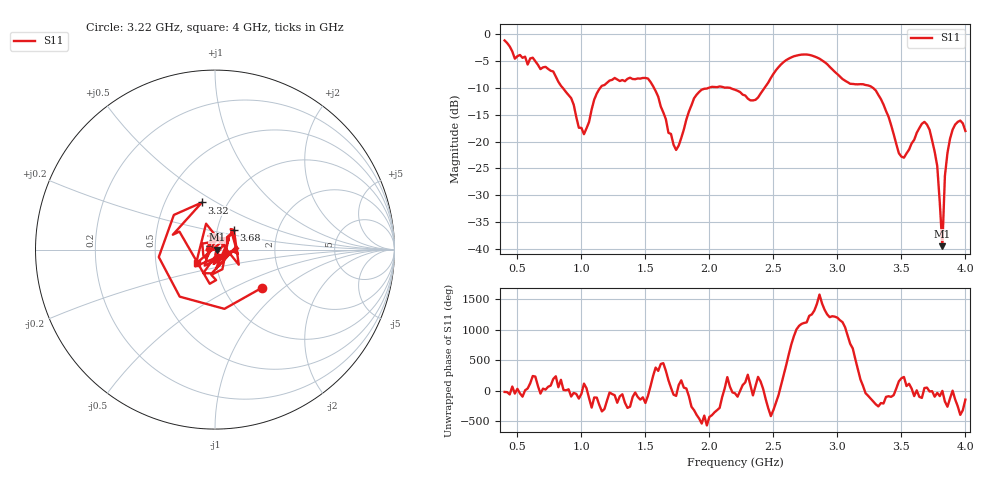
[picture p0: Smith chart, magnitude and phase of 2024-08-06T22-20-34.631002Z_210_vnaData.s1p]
!Created with skrf (http://scikit-rf.org).
# Hz S RI R 50.0
!freq ReS11 ImS11
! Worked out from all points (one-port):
!   181 points, 400 MHz to 4 GHz, reference 50 ohm
!   lowest |S11| = -39.5 dB at 3.82 GHz (marker M1), VSWR 1.02, Z = 51.1 - j0.0172 ohm
!   |S11| at or under -10 dB: 855.1 MHz to 1.146 GHz (291.4 MHz wide, 29.1 % of centre); 1.568 GHz to 1.991 GHz (423.5 MHz wide, 23.8 % of centre); 3.28 GHz to end of sweep (the widest 3 of 4)
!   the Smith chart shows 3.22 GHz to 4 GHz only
!   S11 on the Smith chart (normalised r, x): 3.22 GHz: 1.51, -0.72; 3.32 GHz: 0.76, +0.43; 3.68 GHz: 1.20, +0.27; 4 GHz: 0.81, -0.12
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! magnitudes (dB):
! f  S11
! 400 MHz  -1.1
! 480 MHz  -4.5
! 620 MHz  -4.3
! 860 MHz  -10.1
! 1.02 GHz  -18.6
! 1.14 GHz  -10.2
! 1.3 GHz  -8.7
! 1.52 GHz  -8.2
! 1.72 GHz  -20.6
! 1.76 GHz  -20.8
! 1.92 GHz  -10.7
! 2.2 GHz  -10.3
! 2.36 GHz  -12.2
! 2.66 GHz  -4.1
! 2.86 GHz  -4.5
! 3.1 GHz  -9.2
! 3.22 GHz  -9.4
! 3.32 GHz  -11.3
! 3.48 GHz  -22.2
! 3.56 GHz  -21.5
! 3.68 GHz  -16.3
! 3.72 GHz  -17.8
! 3.78 GHz  -24.5
! 3.82 GHz  -39.5
! 3.84 GHz  -26.4
! 3.88 GHz  -19.5
! 3.96 GHz  -16.1
! 4 GHz  -18.0
